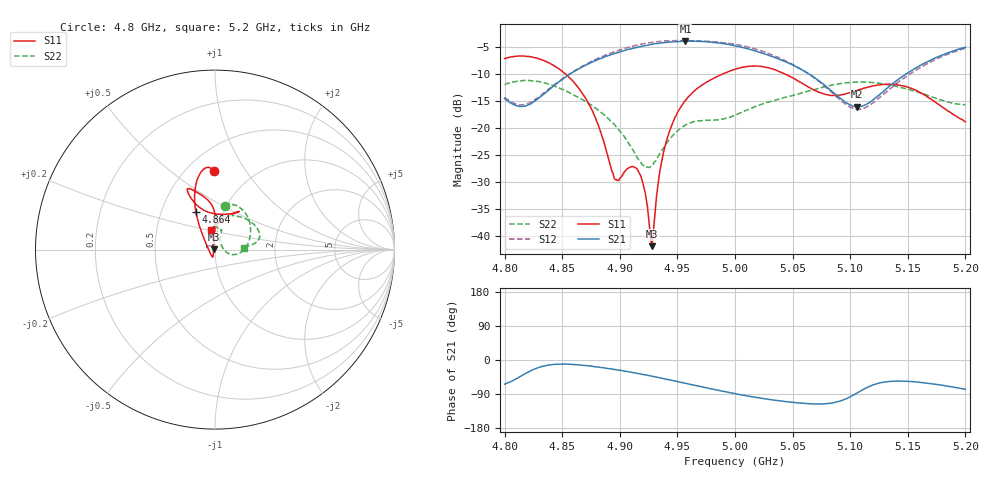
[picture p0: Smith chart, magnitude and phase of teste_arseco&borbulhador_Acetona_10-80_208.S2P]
! Network Analyzer HP8722D
! Hewlett-Packard
! Data name: Linha & Wilkinson
! Saver's name: Rodrigo Anjos
! Comments: Teste da utilização de aquisição
! continua pelo VNA HP8722D
! Time and date: 25/4/2025 17:00
!  Frequency  S11  S21  S12  S22
# HZ  S  MA R 50
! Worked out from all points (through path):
!   401 points, 4.8 GHz to 5.2 GHz, reference 50 ohm
!   highest |S21| = -3.99 dB at 4.957 GHz (marker M1); lowest = -16.1 dB at 5.106 GHz (marker M2)
!   lowest |S11| = -42.0 dB at 4.928 GHz (marker M3), VSWR 1.02, Z = 49.2 + j0.0929 ohm
!   |S11| at or under -10 dB: 4.852 GHz to 4.99 GHz (137.8 MHz wide, 2.8 % of centre); 5.043 GHz to end of sweep
!   |S22| runs from -27.4 to -11.3 dB; largest |S21 - S12| = 1.2
!   S11 on the Smith chart (normalised r, x): 4.8 GHz: 0.67, +0.72; 4.864 GHz: 0.75, +0.33; 5.2 GHz: 0.93, +0.21
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4.8e9  0.4354 90.9  0.1856 -63.8  0.1906 69.7  0.2493 77.3
4.82e9  0.4552 97.2  0.1611 -32.3  0.1667 98.4  0.2732 61.7
4.845e9  0.362 107.6  0.254 -11.3  0.2581 119.5  0.2382 34.2
4.864e9  0.2344 117.0  0.3484 -12.6  0.352 121.1  0.1901 12.3
4.867e9  0.2109 118.7  0.362 -13.8  0.3672 120.7  0.1827 8.8
4.88e9  0.1141 128.8  0.4214 -18.2  0.4317 118.4  0.1487 -4.9
4.896e9  0.03288 -169.2  0.4868 -25.2  0.5055 113.2  0.1047 -15.5
4.91e9  0.04339 -108.7  0.5374 -32.2  0.5644 107.3  0.06509 -13.3
4.917e9  0.03753 -105.3  0.5613 -36.4  0.5881 103.7  0.04891 -0.0
4.921e9  0.02787 -110.1  0.5723 -38.7  0.5989 101.4  0.04407 12.7
4.926e9  0.0117 -137.3  0.5845 -41.6  0.6111 98.3  0.04267 33.3
4.928e9  0.007967 173.2  0.5903 -42.7  0.6153 97.2  0.04468 40.5
4.934e9  0.03466 100.8  0.6031 -46.6  0.6279 93.4  0.0558 57.3
4.943e9  0.09118 91.5  0.6178 -52.4  0.6347 87.7  0.07753 68.2
4.957e9  0.179 89.8  0.6316 -61.3  0.6389 78.7  0.1057 70.8
5e9  0.347 109.2  0.5701 -88.8  0.5906 50.9  0.1304 88.0
5.031e9  0.3532 115.3  0.4594 -104.6  0.4776 33.4  0.1745 84.7
5.067e9  0.2273 105.7  0.3005 -115.8  0.2978 23.6  0.2218 57.2
5.106e9  0.2202 65.2  0.1558 -87.0  0.1479 56.0  0.2633 24.8
5.134e9  0.2516 57.9  0.2406 -56.6  0.226 88.7  0.2485 12.4
5.169e9  0.1868 70.5  0.4168 -61.9  0.4012 84.9  0.1952 6.8
5.2e9  0.113 101.0  0.5545 -77.3  0.5432 70.2  0.162 3.7
